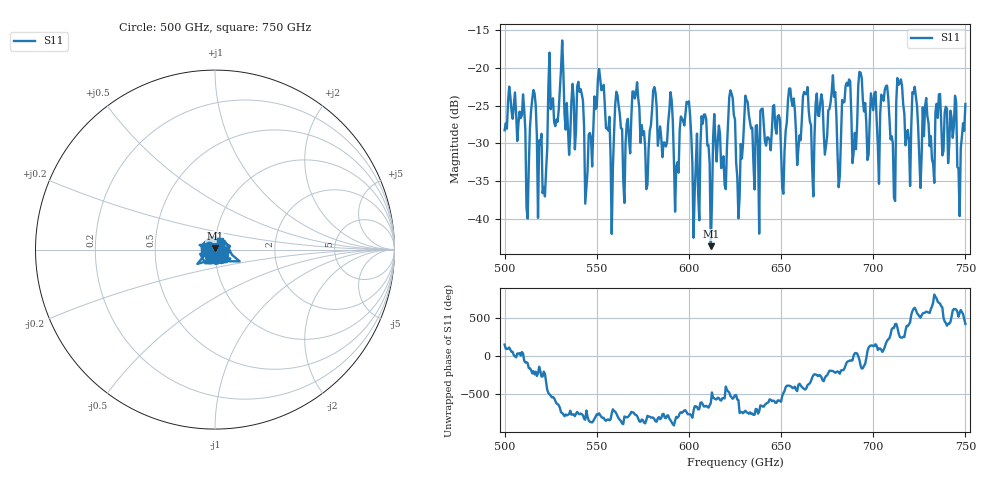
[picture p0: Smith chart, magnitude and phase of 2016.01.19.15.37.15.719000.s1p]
!Created with skrf (http://scikit-rf.org).
# GHz S RI R 50.0
!freq ReS11 ImS11
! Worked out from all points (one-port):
!   401 points, 500 GHz to 750 GHz, reference 50 ohm
!   lowest |S11| = -43.6 dB at 611.9 GHz (marker M1), VSWR 1.01, Z = 49.8 + j0.629 ohm
!   |S11| at or under -10 dB: start of sweep to end of sweep
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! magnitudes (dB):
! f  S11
! 500 GHz  -28.3
! 512.5 GHz  -40.0
! 515.6 GHz  -22.9
! 521.9 GHz  -37.0
! 525 GHz  -25.5
! 531.2 GHz  -16.3
! 541.2 GHz  -22.8
! 545 GHz  -33.7
! 551.9 GHz  -21.4
! 557.5 GHz  -31.9
! 562.5 GHz  -26.1
! 590 GHz  -23.2
! 593.8 GHz  -32.5
! 599.4 GHz  -24.7
! 602.5 GHz  -42.5
! 608.1 GHz  -26.2
! 611.9 GHz  -43.6
! 625 GHz  -26.8
! 651.2 GHz  -36.7
! 656.2 GHz  -25.0
! 687.5 GHz  -21.8
! 706.9 GHz  -22.4
! 710.6 GHz  -30.0
! 714.4 GHz  -22.0
! 718.8 GHz  -28.2
! 722.5 GHz  -22.5
! 746.9 GHz  -39.6
! 750 GHz  -24.8
